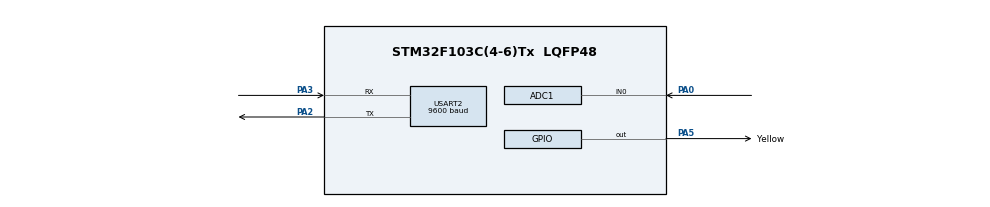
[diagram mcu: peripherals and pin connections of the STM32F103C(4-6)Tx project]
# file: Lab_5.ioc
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ADC1.Channel-0\#ChannelRegularConversion=ADC_CHANNEL_0
ADC1.ContinuousConvMode=ENABLE
ADC1.NbrOfConversionFlag=1
ADC1.Rank-0\#ChannelRegularConversion=1
ADC1.SamplingTime-0\#ChannelRegularConversion=ADC_SAMPLETIME_1CYCLE_5
ADC1.master=1
Mcu.Family=STM32F1
Mcu.Name=STM32F103C(4-6)Tx
Mcu.Package=LQFP48
NVIC.PriorityGroup=NVIC_PRIORITYGROUP_4
NVIC.TIM2_IRQn=true\:0\:0\:false\:false\:true\:true\:true
NVIC.USART2_IRQn=true\:0\:0\:false\:false\:true\:true\:true
PA0-WKUP.Signal=ADCx_IN0
PA2.Mode=Asynchronous
PA2.Signal=USART2_TX
PA3.Mode=Asynchronous
PA3.Signal=USART2_RX
PA5.GPIO_Label=Yellow
PA5.Signal=GPIO_Output
ProjectManager.HeapSize=0x200
ProjectManager.StackSize=0x400
ProjectManager.TargetToolchain=STM32CubeIDE
RCC.APB1Freq_Value=8000000
RCC.APB2Freq_Value=8000000
SH.ADCx_IN0.0=ADC1_IN0,IN0
TIM2.Period=9
TIM2.Prescaler=7999
USART2.BaudRate=9600
USART2.VirtualMode=VM_ASYNC
VP_SYS_VS_ND.Mode=No_Debug
VP_TIM2_VS_ClockSourceINT.Mode=Internal
board=custom

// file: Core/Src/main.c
/* USER CODE BEGIN Header */
/**
  ******************************************************************************
  * @file           : main.c
  * @brief          : Main program body
  ******************************************************************************
  * @attention
  *
  * <h2><center>&copy; Copyright (c) 2021 STMicroelectronics.
  * All rights reserved.</center></h2>
  *
  * This software component is licensed by ST under BSD 3-Clause license,
  * the "License"; You may not use this file except in compliance with the
  * License. You may obtain a copy of the License at:
  *                        opensource.org/licenses/BSD-3-Clause
  *
  ******************************************************************************
  */
/* USER CODE END Header */
#include "main.h"
#include "command_parser.h"
#include "uart_communication.h"
#include "timer.h"

ADC_HandleTypeDef hadc1;

TIM_HandleTypeDef htim2;

UART_HandleTypeDef huart2;

void SystemClock_Config(void);
static void MX_GPIO_Init(void);
static void MX_ADC1_Init(void);
static void MX_USART2_UART_Init(void);
static void MX_TIM2_Init(void);

/* USER CODE BEGIN 0 */
uint8_t temp = 0;

uint8_t buffer [ MAX_BUFFER_SIZE ];
uint8_t index_buffer = 0;
uint8_t buffer_flag = 0;

uint8_t command_flag = 0;
uint8_t command_data[ MAX_BUFFER_SIZE ];
void HAL_UART_RxCpltCallback ( UART_HandleTypeDef * huart ){
	if(huart -> Instance == USART2 ){
		HAL_UART_Transmit (& huart2 , &temp , 1, 50) ;
		buffer [ index_buffer ++] = temp ;
		if( index_buffer == 30) index_buffer = 0;
		buffer_flag = 1;
		HAL_UART_Receive_IT (& huart2 , &temp , 1);
	}
}
/* USER CODE END 0 */

int main(void)
{

  /* MCU Configuration--------------------------------------------------------*/

  /* Reset of all peripherals, Initializes the Flash interface and the Systick. */
  HAL_Init();

  /* Configure the system clock */
  SystemClock_Config();

  /* Initialize all configured peripherals */
  MX_GPIO_Init();
  MX_ADC1_Init();
  MX_USART2_UART_Init();
  MX_TIM2_Init();
  /* USER CODE BEGIN 2 */
  HAL_UART_Receive_IT (& huart2 , &temp , 1);
  HAL_TIM_Base_Start_IT (& htim2 );
  /* USER CODE END 2 */

  /* Infinite loop */
  /* USER CODE BEGIN WHILE */

  while (1)
  {

	  if( buffer_flag == 1){
		  command_parser_fsm ();
		  buffer_flag = 0;
	  }
	  uart_communiation_fsm ();
    /* USER CODE END WHILE */

  }
}

void SystemClock_Config(void)
{
  RCC_OscInitTypeDef RCC_OscInitStruct = {0};
  RCC_ClkInitTypeDef RCC_ClkInitStruct = {0};
  RCC_PeriphCLKInitTypeDef PeriphClkInit = {0};

  /** Initializes the RCC Oscillators according to the specified parameters
  * in the RCC_OscInitTypeDef structure.
  */
  RCC_OscInitStruct.OscillatorType = RCC_OSCILLATORTYPE_HSI;
  RCC_OscInitStruct.HSIState = RCC_HSI_ON;
  RCC_OscInitStruct.HSICalibrationValue = RCC_HSICALIBRATION_DEFAULT;
  RCC_OscInitStruct.PLL.PLLState = RCC_PLL_NONE;
  if (HAL_RCC_OscConfig(&RCC_OscInitStruct) != HAL_OK)
  {
    Error_Handler();
  }
  /** Initializes the CPU, AHB and APB buses clocks
  */
  RCC_ClkInitStruct.ClockType = RCC_CLOCKTYPE_HCLK|RCC_CLOCKTYPE_SYSCLK
                              |RCC_CLOCKTYPE_PCLK1|RCC_CLOCKTYPE_PCLK2;
  RCC_ClkInitStruct.SYSCLKSource = RCC_SYSCLKSOURCE_HSI;
  RCC_ClkInitStruct.AHBCLKDivider = RCC_SYSCLK_DIV1;
  RCC_ClkInitStruct.APB1CLKDivider = RCC_HCLK_DIV1;
  RCC_ClkInitStruct.APB2CLKDivider = RCC_HCLK_DIV1;

  if (HAL_RCC_ClockConfig(&RCC_ClkInitStruct, FLASH_LATENCY_0) != HAL_OK)
  {
    Error_Handler();
  }
  PeriphClkInit.PeriphClockSelection = RCC_PERIPHCLK_ADC;
  PeriphClkInit.AdcClockSelection = RCC_ADCPCLK2_DIV2;
  if (HAL_RCCEx_PeriphCLKConfig(&PeriphClkInit) != HAL_OK)
  {
    Error_Handler();
  }
}

static void MX_ADC1_Init(void)
{

  ADC_ChannelConfTypeDef sConfig = {0};

  /** Common config
  */
  hadc1.Instance = ADC1;
  hadc1.Init.ScanConvMode = ADC_SCAN_DISABLE;
  hadc1.Init.ContinuousConvMode = ENABLE;
  hadc1.Init.DiscontinuousConvMode = DISABLE;
  hadc1.Init.ExternalTrigConv = ADC_SOFTWARE_START;
  hadc1.Init.DataAlign = ADC_DATAALIGN_RIGHT;
  hadc1.Init.NbrOfConversion = 1;
  if (HAL_ADC_Init(&hadc1) != HAL_OK)
  {
    Error_Handler();
  }
  /** Configure Regular Channel
  */
  sConfig.Channel = ADC_CHANNEL_0;
  sConfig.Rank = ADC_REGULAR_RANK_1;
  sConfig.SamplingTime = ADC_SAMPLETIME_1CYCLE_5;
  if (HAL_ADC_ConfigChannel(&hadc1, &sConfig) != HAL_OK)
  {
    Error_Handler();
  }

}

static void MX_TIM2_Init(void)
{

  TIM_ClockConfigTypeDef sClockSourceConfig = {0};
  TIM_MasterConfigTypeDef sMasterConfig = {0};

  htim2.Instance = TIM2;
  htim2.Init.Prescaler = 7999;
  htim2.Init.CounterMode = TIM_COUNTERMODE_UP;
  htim2.Init.Period = 9;
  htim2.Init.ClockDivision = TIM_CLOCKDIVISION_DIV1;
  htim2.Init.AutoReloadPreload = TIM_AUTORELOAD_PRELOAD_DISABLE;
  if (HAL_TIM_Base_Init(&htim2) != HAL_OK)
  {
    Error_Handler();
  }
  sClockSourceConfig.ClockSource = TIM_CLOCKSOURCE_INTERNAL;
  if (HAL_TIM_ConfigClockSource(&htim2, &sClockSourceConfig) != HAL_OK)
  {
    Error_Handler();
  }
  sMasterConfig.MasterOutputTrigger = TIM_TRGO_RESET;
  sMasterConfig.MasterSlaveMode = TIM_MASTERSLAVEMODE_DISABLE;
  if (HAL_TIMEx_MasterConfigSynchronization(&htim2, &sMasterConfig) != HAL_OK)
  {
    Error_Handler();
  }

}

static void MX_USART2_UART_Init(void)
{

  huart2.Instance = USART2;
  huart2.Init.BaudRate = 9600;
  huart2.Init.WordLength = UART_WORDLENGTH_8B;
  huart2.Init.StopBits = UART_STOPBITS_1;
  huart2.Init.Parity = UART_PARITY_NONE;
  huart2.Init.Mode = UART_MODE_TX_RX;
  huart2.Init.HwFlowCtl = UART_HWCONTROL_NONE;
  huart2.Init.OverSampling = UART_OVERSAMPLING_16;
  if (HAL_UART_Init(&huart2) != HAL_OK)
  {
    Error_Handler();
  }

}

static void MX_GPIO_Init(void)
{
  GPIO_InitTypeDef GPIO_InitStruct = {0};

  /* GPIO Ports Clock Enable */
  __HAL_RCC_GPIOA_CLK_ENABLE();

  /*Configure GPIO pin Output Level */
  HAL_GPIO_WritePin(Yellow_GPIO_Port, Yellow_Pin, GPIO_PIN_RESET);

  /*Configure GPIO pin : Yellow_Pin */
  GPIO_InitStruct.Pin = Yellow_Pin;
  GPIO_InitStruct.Mode = GPIO_MODE_OUTPUT_PP;
  GPIO_InitStruct.Pull = GPIO_NOPULL;
  GPIO_InitStruct.Speed = GPIO_SPEED_FREQ_LOW;
  HAL_GPIO_Init(Yellow_GPIO_Port, &GPIO_InitStruct);

}

/* USER CODE BEGIN 4 */
void HAL_TIM_PeriodElapsedCallback ( TIM_HandleTypeDef * htim ){
	timer_run ();
}
/* USER CODE END 4 */

void Error_Handler(void)
{
  __disable_irq();
  while (1)
  {
  }
}

/************************ (C) COPYRIGHT STMicroelectronics *****END OF FILE****/
